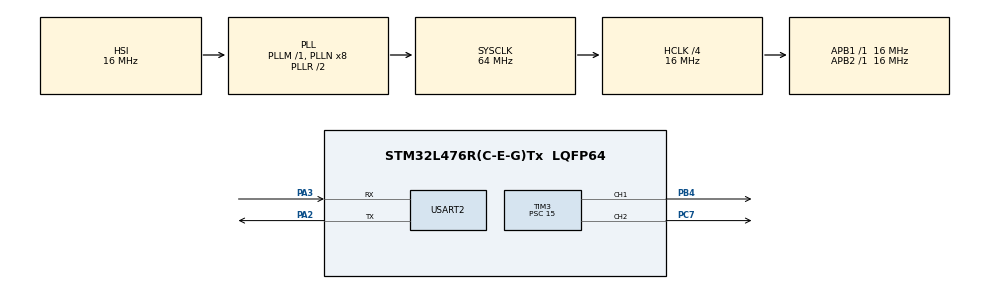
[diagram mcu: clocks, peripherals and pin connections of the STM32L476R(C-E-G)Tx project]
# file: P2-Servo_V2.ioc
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Mcu.Family=STM32L4
Mcu.Name=STM32L476R(C-E-G)Tx
Mcu.Package=LQFP64
NVIC.PriorityGroup=NVIC_PRIORITYGROUP_4
NVIC.USART2_IRQn=true\:0\:0\:false\:false\:true\:true\:true\:true
PA2.Mode=Asynchronous
PA2.Signal=USART2_TX
PA3.Mode=Asynchronous
PA3.Signal=USART2_RX
PB4\ (NJTRST).Signal=S_TIM3_CH1
PC7.Signal=S_TIM3_CH2
ProjectManager.HeapSize=0x200
ProjectManager.StackSize=0x400
ProjectManager.TargetToolchain=STM32CubeIDE
RCC.ADCFreq_Value=64000000
RCC.AHBCLKDivider=RCC_SYSCLK_DIV4
RCC.AHBFreq_Value=16000000
RCC.APB1Freq_Value=16000000
RCC.APB1TimFreq_Value=16000000
RCC.APB2Freq_Value=16000000
RCC.APB2TimFreq_Value=16000000
RCC.CortexFreq_Value=16000000
RCC.HCLKFreq_Value=16000000
RCC.HSE_VALUE=8000000
RCC.HSI_VALUE=16000000
RCC.LSE_VALUE=32768
RCC.MSI_VALUE=4000000
RCC.PLLSourceVirtual=RCC_PLLSOURCE_HSI
RCC.SYSCLKFreq_VALUE=64000000
RCC.SYSCLKSource=RCC_SYSCLKSOURCE_PLLCLK
RCC.USBFreq_Value=64000000
RCC.VCOOutputFreq_Value=128000000
SH.S_TIM3_CH1.0=TIM3_CH1,PWM Generation1 CH1
SH.S_TIM3_CH2.0=TIM3_CH2,PWM Generation2 CH2
TIM3.AutoReloadPreload=TIM_AUTORELOAD_PRELOAD_ENABLE
TIM3.Channel-PWM\ Generation1\ CH1=TIM_CHANNEL_1
TIM3.Channel-PWM\ Generation2\ CH2=TIM_CHANNEL_2
TIM3.Period=20000
TIM3.Prescaler=15
TIM3.Pulse-PWM\ Generation1\ CH1=500
TIM3.Pulse-PWM\ Generation2\ CH2=500
USART2.VirtualMode-Asynchronous=VM_ASYNC
VP_TIM3_VS_ClockSourceINT.Mode=Internal
board=custom

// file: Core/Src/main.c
/* USER CODE BEGIN Header */
/**
  ******************************************************************************
  * @file           : main.c
  * @brief          : Main program body
  ******************************************************************************
  * @attention
  *
  * Copyright (c) 2023 STMicroelectronics.
  * All rights reserved.
  *
  * This software is licensed under terms that can be found in the LICENSE file
  * in the root directory of this software component.
  * If no LICENSE file comes with this software, it is provided AS-IS.
  *
  ******************************************************************************
  */
/* USER CODE END Header */
#include "main.h"

/* USER CODE BEGIN Includes */
#include "servo.h"
#include "commands.h"
#include "recipes.h"

/* USER CODE END Includes */

TIM_HandleTypeDef htim3;

UART_HandleTypeDef huart2;

void SystemClock_Config(void);
static void MX_GPIO_Init(void);
static void MX_TIM3_Init(void);
static void MX_USART2_UART_Init(void);

/* USER CODE BEGIN 0 */
uint8_t rx_buffer[256];
uint8_t command_buffer[2];
uint8_t newline[3] = "\r\n>";
uint8_t rx_index = 0;
uint8_t command_index = 0;
_Bool is_command_ready = 0;
uint8_t status[100];

/* USER CODE END 0 */

int main(void)
{

  /* MCU Configuration--------------------------------------------------------*/

  /* Reset of all peripherals, Initializes the Flash interface and the Systick. */
  HAL_Init();

  /* Configure the system clock */
  SystemClock_Config();

  /* Initialize all configured peripherals */
  MX_GPIO_Init();
  MX_TIM3_Init();
  MX_USART2_UART_Init();
  MFS_init();
  /* USER CODE BEGIN 2 */
  char Message[] = "Write anything on Serial Terminal\r\n";

  /* USER CODE END 2 */

  /* Infinite loop */
  /* USER CODE BEGIN WHILE */
  HAL_UART_Transmit(&huart2, (uint8_t *)Message, strlen(Message), 10);
  HAL_UART_Transmit(&huart2, newline, sizeof(newline), HAL_MAX_DELAY);
  HAL_UART_Receive_IT(&huart2, &rx_buffer[rx_index], 1);
  Servo servo_1 = initServo(1);
  Servo servo_2 = initServo(2);
  HAL_TIM_PWM_Start(&htim3, TIM_CHANNEL_1);
  HAL_TIM_PWM_Start(&htim3, TIM_CHANNEL_2);
  while (1)
  {
    /* USER CODE END WHILE */

    /* USER CODE BEGIN 3 */

	  // Start of loop
	  uint32_t startLoop = HAL_GetTick();

	      // Check if a command is ready
	      if (is_command_ready)
	      {
	    	  // execute command for servo 1
//	    	  if (startLoop > (servo_1.last_instr_time + (servo_1.delay + DELAY))){
	    		  servo_1.delay = 0;
	    		  execute_input(&servo_1, command_buffer[0] );
//		    	  sprintf(status, "Servo %d is at position %d, running recipe %d at index %d\r\n", servo_1.servo_num, servo_1.servo_pos, servo_1.recipe_num, servo_1.recipe_index);
//	    		  HAL_UART_Transmit(&huart2, status, strlen(status), HAL_MAX_DELAY);
//	    	  }

	    	  // execute command for servo 2
//	    	  if (startLoop > (servo_2.last_instr_time + (servo_2.delay + DELAY))){
	    		  servo_2.delay = 0;
				  execute_input(&servo_2, command_buffer[1] );
//		    	  sprintf(status, "Servo %d is at position %d, running recipe %d at index %d\r\n", servo_2.servo_num, servo_2.servo_pos, servo_2.recipe_num, servo_2.recipe_index);
//				  HAL_UART_Transmit(&huart2, status, strlen(status), HAL_MAX_DELAY);
//			  }

	    	  is_command_ready = 0;
	    	  command_index = 0;
	      }

	  // execute next recipe step
	      if (servo_1.is_running){
	    	  if (startLoop > (servo_1.last_instr_time + (servo_1.delay + DELAY))){
	    		  servo_1.delay = 0;
	    		  if (execute_recipe_step(&servo_1)) {
					  sprintf((char*)status, "Servo %d is at position %d, running recipe %d at index %d\r\n", servo_1.servo_num, servo_1.servo_pos, servo_1.recipe_num, servo_1.recipe_index);
					  HAL_UART_Transmit(&huart2, status, strlen((char*)status), HAL_MAX_DELAY);
					  HAL_UART_Transmit(&huart2, newline, sizeof(newline), HAL_MAX_DELAY);
				  }
				  servo_1.last_instr_time = HAL_GetTick();
//				  sprintf(status, "Servo %d is at position %d, running recipe %d at index %d\r\n", servo_1.servo_num, servo_1.servo_pos, servo_1.recipe_num, servo_1.recipe_index);
//				  HAL_UART_Transmit(&huart2, status, strlen(status), HAL_MAX_DELAY);
	    	  }

	      }

	      if (servo_2.is_running){
	    	  if (startLoop > (servo_2.last_instr_time + (servo_2.delay + DELAY))){
	    		  servo_2.delay = 0;
				  if (execute_recipe_step(&servo_2)) {
					  sprintf((char*)status, "Servo %d is at position %d, running recipe %d at index %d\r\n", servo_2.servo_num, servo_2.servo_pos, servo_2.recipe_num, servo_2.recipe_index);
					  HAL_UART_Transmit(&huart2, status, strlen((char*)status), HAL_MAX_DELAY);
					  HAL_UART_Transmit(&huart2, newline, sizeof(newline), HAL_MAX_DELAY);
				  }
				  servo_2.last_instr_time = HAL_GetTick();
//
	    	  }

		  }

  }
  /* USER CODE END 3 */
}

void SystemClock_Config(void)
{
  RCC_OscInitTypeDef RCC_OscInitStruct = {0};
  RCC_ClkInitTypeDef RCC_ClkInitStruct = {0};

  /** Configure the main internal regulator output voltage
  */
  if (HAL_PWREx_ControlVoltageScaling(PWR_REGULATOR_VOLTAGE_SCALE1) != HAL_OK)
  {
    Error_Handler();
  }

  /** Initializes the RCC Oscillators according to the specified parameters
  * in the RCC_OscInitTypeDef structure.
  */
  RCC_OscInitStruct.OscillatorType = RCC_OSCILLATORTYPE_HSI;
  RCC_OscInitStruct.HSIState = RCC_HSI_ON;
  RCC_OscInitStruct.HSICalibrationValue = RCC_HSICALIBRATION_DEFAULT;
  RCC_OscInitStruct.PLL.PLLState = RCC_PLL_ON;
  RCC_OscInitStruct.PLL.PLLSource = RCC_PLLSOURCE_HSI;
  RCC_OscInitStruct.PLL.PLLM = 1;
  RCC_OscInitStruct.PLL.PLLN = 8;
  RCC_OscInitStruct.PLL.PLLP = RCC_PLLP_DIV7;
  RCC_OscInitStruct.PLL.PLLQ = RCC_PLLQ_DIV2;
  RCC_OscInitStruct.PLL.PLLR = RCC_PLLR_DIV2;
  if (HAL_RCC_OscConfig(&RCC_OscInitStruct) != HAL_OK)
  {
    Error_Handler();
  }

  /** Initializes the CPU, AHB and APB buses clocks
  */
  RCC_ClkInitStruct.ClockType = RCC_CLOCKTYPE_HCLK|RCC_CLOCKTYPE_SYSCLK
                              |RCC_CLOCKTYPE_PCLK1|RCC_CLOCKTYPE_PCLK2;
  RCC_ClkInitStruct.SYSCLKSource = RCC_SYSCLKSOURCE_PLLCLK;
  RCC_ClkInitStruct.AHBCLKDivider = RCC_SYSCLK_DIV4;
  RCC_ClkInitStruct.APB1CLKDivider = RCC_HCLK_DIV1;
  RCC_ClkInitStruct.APB2CLKDivider = RCC_HCLK_DIV1;

  if (HAL_RCC_ClockConfig(&RCC_ClkInitStruct, FLASH_LATENCY_0) != HAL_OK)
  {
    Error_Handler();
  }
}

static void MX_TIM3_Init(void)
{

  TIM_ClockConfigTypeDef sClockSourceConfig = {0};
  TIM_MasterConfigTypeDef sMasterConfig = {0};
  TIM_OC_InitTypeDef sConfigOC = {0};

  htim3.Instance = TIM3;
  htim3.Init.Prescaler = 15;
  htim3.Init.CounterMode = TIM_COUNTERMODE_UP;
  htim3.Init.Period = 20000;
  htim3.Init.ClockDivision = TIM_CLOCKDIVISION_DIV1;
  htim3.Init.AutoReloadPreload = TIM_AUTORELOAD_PRELOAD_ENABLE;
  if (HAL_TIM_Base_Init(&htim3) != HAL_OK)
  {
    Error_Handler();
  }
  sClockSourceConfig.ClockSource = TIM_CLOCKSOURCE_INTERNAL;
  if (HAL_TIM_ConfigClockSource(&htim3, &sClockSourceConfig) != HAL_OK)
  {
    Error_Handler();
  }
  if (HAL_TIM_PWM_Init(&htim3) != HAL_OK)
  {
    Error_Handler();
  }
  sMasterConfig.MasterOutputTrigger = TIM_TRGO_RESET;
  sMasterConfig.MasterSlaveMode = TIM_MASTERSLAVEMODE_DISABLE;
  if (HAL_TIMEx_MasterConfigSynchronization(&htim3, &sMasterConfig) != HAL_OK)
  {
    Error_Handler();
  }
  sConfigOC.OCMode = TIM_OCMODE_PWM1;
  sConfigOC.Pulse = 500;
  sConfigOC.OCPolarity = TIM_OCPOLARITY_HIGH;
  sConfigOC.OCFastMode = TIM_OCFAST_DISABLE;
  if (HAL_TIM_PWM_ConfigChannel(&htim3, &sConfigOC, TIM_CHANNEL_1) != HAL_OK)
  {
    Error_Handler();
  }
  if (HAL_TIM_PWM_ConfigChannel(&htim3, &sConfigOC, TIM_CHANNEL_2) != HAL_OK)
  {
    Error_Handler();
  }
  HAL_TIM_MspPostInit(&htim3);

}

static void MX_USART2_UART_Init(void)
{

  huart2.Instance = USART2;
  huart2.Init.BaudRate = 115200;
  huart2.Init.WordLength = UART_WORDLENGTH_8B;
  huart2.Init.StopBits = UART_STOPBITS_1;
  huart2.Init.Parity = UART_PARITY_NONE;
  huart2.Init.Mode = UART_MODE_TX_RX;
  huart2.Init.HwFlowCtl = UART_HWCONTROL_NONE;
  huart2.Init.OverSampling = UART_OVERSAMPLING_16;
  huart2.Init.OneBitSampling = UART_ONE_BIT_SAMPLE_DISABLE;
  huart2.AdvancedInit.AdvFeatureInit = UART_ADVFEATURE_NO_INIT;
  if (HAL_UART_Init(&huart2) != HAL_OK)
  {
    Error_Handler();
  }

}

void HAL_UART_RxCpltCallback(UART_HandleTypeDef *huart)
{
	// convert to uppercase
	uint8_t data = toupper(rx_buffer[rx_index]);
	_Bool reset = 0;

	// if X
	if (data == 'X') {
		// echo character
		HAL_UART_Transmit(huart, &data, 1, HAL_MAX_DELAY);
		// reset buffers
		command_index = 0;
		rx_index = 0;
		reset = 1;
		uint8_t response[] = "\r\nBuffer reset\r\n";
		HAL_UART_Transmit(&huart2, response, sizeof(response), HAL_MAX_DELAY);
		HAL_UART_Transmit(&huart2, newline, sizeof(newline), HAL_MAX_DELAY);
	}

	if (!reset) {

		// if command index < 2
		if (command_index < 2) {
			// echo character
			HAL_UART_Transmit(huart, &data, 1, HAL_MAX_DELAY);
			// add current rx position to command buffer
			command_buffer[command_index] = data;
			command_index++;
		}
		// else
		else {
			// if char is carriage return
			if (data == '\r') {
				// pass command
				is_command_ready = 1;
				// echo newline
				HAL_UART_Transmit(&huart2, newline, sizeof(newline), HAL_MAX_DELAY);
			}
			// else
					// don't add to command buffer, don't echo
		}

	}
	// increment rx_index
	if ((++rx_index) == 255) rx_index = 0;
	// if rx_index == 255 reset to 0
	// re-enable UART receieve
	HAL_UART_Receive_IT(&huart2, &rx_buffer[rx_index], 1);
}

static void MX_GPIO_Init(void)
{

  /* GPIO Ports Clock Enable */
  __HAL_RCC_GPIOA_CLK_ENABLE();
  __HAL_RCC_GPIOC_CLK_ENABLE();
  __HAL_RCC_GPIOB_CLK_ENABLE();

}

void Error_Handler(void)
{
  __disable_irq();
  while (1)
  {
  }
}
